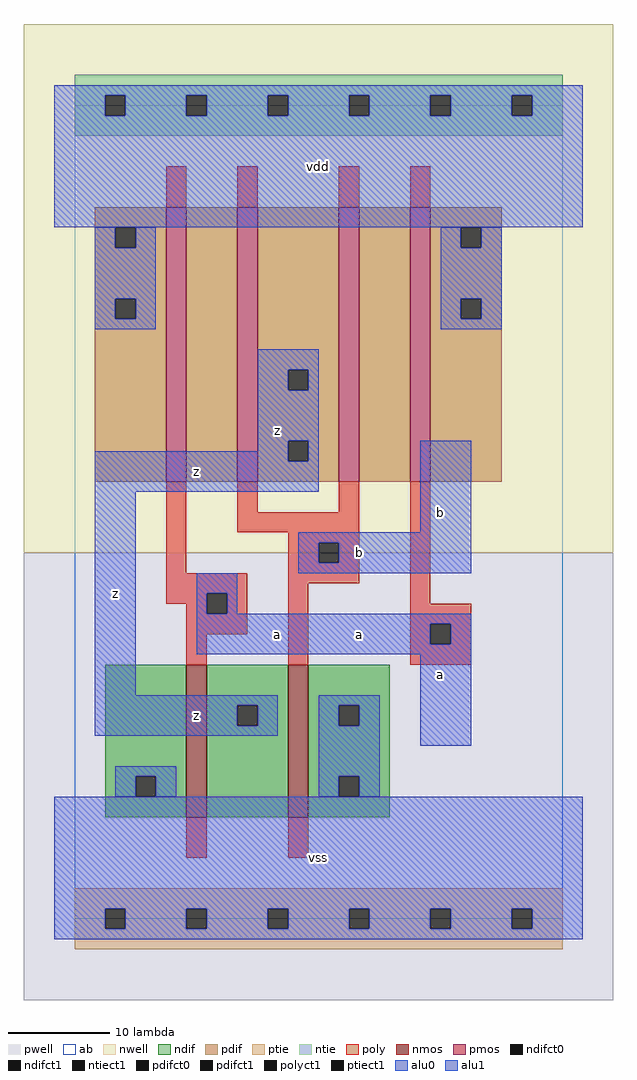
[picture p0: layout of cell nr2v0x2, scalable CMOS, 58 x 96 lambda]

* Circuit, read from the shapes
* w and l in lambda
.subckt nr2v0x2 a b vdd vss z
M1 z a vss vss nfet w=15 l=2
M2 vss b z vss nfet w=15 l=2
M3 n1 a vdd vdd pfet w=27 l=2
M4 z b n1 vdd pfet w=27 l=2
M5 n2 b z vdd pfet w=27 l=2
M6 vdd a n2 vdd pfet w=27 l=2
.ends

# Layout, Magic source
magic
tech scmos
<< ab >>
rect 0 0 48 80
<< nwell >>
rect -5 36 53 88
<< pwell >>
rect -5 -8 53 36
<< poly >>
rect 9 70 11 74
rect 16 70 18 74
rect 26 70 28 74
rect 33 70 35 74
rect 9 34 11 43
rect 16 40 18 43
rect 26 40 28 43
rect 16 38 28 40
rect 21 37 28 38
rect 21 35 24 37
rect 26 35 28 37
rect 9 32 17 34
rect 9 31 13 32
rect 11 30 13 31
rect 15 30 17 32
rect 11 28 17 30
rect 21 33 28 35
rect 11 25 13 28
rect 21 25 23 33
rect 33 31 35 43
rect 33 29 39 31
rect 33 27 35 29
rect 37 27 39 29
rect 33 25 39 27
rect 11 6 13 10
rect 21 6 23 10
<< ndif >>
rect 3 14 11 25
rect 3 12 6 14
rect 8 12 11 14
rect 3 10 11 12
rect 13 21 21 25
rect 13 19 16 21
rect 18 19 21 21
rect 13 10 21 19
rect 23 21 31 25
rect 23 19 26 21
rect 28 19 31 21
rect 23 14 31 19
rect 23 12 26 14
rect 28 12 31 14
rect 23 10 31 12
<< pdif >>
rect 2 68 9 70
rect 2 66 4 68
rect 6 66 9 68
rect 2 61 9 66
rect 2 59 4 61
rect 6 59 9 61
rect 2 43 9 59
rect 11 43 16 70
rect 18 54 26 70
rect 18 52 21 54
rect 23 52 26 54
rect 18 47 26 52
rect 18 45 21 47
rect 23 45 26 47
rect 18 43 26 45
rect 28 43 33 70
rect 35 68 42 70
rect 35 66 38 68
rect 40 66 42 68
rect 35 61 42 66
rect 35 59 38 61
rect 40 59 42 61
rect 35 43 42 59
<< alu1 >>
rect -2 81 50 82
rect -2 79 3 81
rect 5 79 11 81
rect 13 79 19 81
rect 21 79 27 81
rect 29 79 35 81
rect 37 79 43 81
rect 45 79 50 81
rect -2 68 50 79
rect 18 54 24 56
rect 18 52 21 54
rect 23 52 24 54
rect 18 47 24 52
rect 18 46 21 47
rect 2 45 21 46
rect 23 45 24 47
rect 2 42 24 45
rect 2 22 6 42
rect 34 38 39 47
rect 22 37 39 38
rect 22 35 24 37
rect 26 35 39 37
rect 22 34 39 35
rect 12 32 16 34
rect 12 30 13 32
rect 15 30 16 32
rect 12 29 39 30
rect 12 27 35 29
rect 37 27 39 29
rect 12 26 39 27
rect 2 21 20 22
rect 2 19 16 21
rect 18 19 20 21
rect 2 18 20 19
rect 34 17 39 26
rect -2 1 50 12
rect -2 -1 3 1
rect 5 -1 11 1
rect 13 -1 19 1
rect 21 -1 27 1
rect 29 -1 35 1
rect 37 -1 43 1
rect 45 -1 50 1
rect -2 -2 50 -1
<< ptie >>
rect 0 1 48 3
rect 0 -1 3 1
rect 5 -1 11 1
rect 13 -1 19 1
rect 21 -1 27 1
rect 29 -1 35 1
rect 37 -1 43 1
rect 45 -1 48 1
rect 0 -3 48 -1
<< ntie >>
rect 0 81 48 83
rect 0 79 3 81
rect 5 79 11 81
rect 13 79 19 81
rect 21 79 27 81
rect 29 79 35 81
rect 37 79 43 81
rect 45 79 48 81
rect 0 77 48 79
<< nmos >>
rect 11 10 13 25
rect 21 10 23 25
<< pmos >>
rect 9 43 11 70
rect 16 43 18 70
rect 26 43 28 70
rect 33 43 35 70
<< polyct1 >>
rect 24 35 26 37
rect 13 30 15 32
rect 35 27 37 29
<< ndifct0 >>
rect 6 12 8 14
rect 26 19 28 21
rect 26 12 28 14
<< ndifct1 >>
rect 16 19 18 21
<< ntiect1 >>
rect 3 79 5 81
rect 11 79 13 81
rect 19 79 21 81
rect 27 79 29 81
rect 35 79 37 81
rect 43 79 45 81
<< ptiect1 >>
rect 3 -1 5 1
rect 11 -1 13 1
rect 19 -1 21 1
rect 27 -1 29 1
rect 35 -1 37 1
rect 43 -1 45 1
<< pdifct0 >>
rect 4 66 6 68
rect 4 59 6 61
rect 38 66 40 68
rect 38 59 40 61
<< pdifct1 >>
rect 21 52 23 54
rect 21 45 23 47
<< alu0 >>
rect 2 66 4 68
rect 6 66 8 68
rect 2 61 8 66
rect 2 59 4 61
rect 6 59 8 61
rect 2 58 8 59
rect 36 66 38 68
rect 40 66 42 68
rect 36 61 42 66
rect 36 59 38 61
rect 40 59 42 61
rect 36 58 42 59
rect 24 21 30 22
rect 24 19 26 21
rect 28 19 30 21
rect 4 14 10 15
rect 4 12 6 14
rect 8 12 10 14
rect 24 14 30 19
rect 24 12 26 14
rect 28 12 30 14
<< labels >>
rlabel alu1 4 32 4 32 6 z
rlabel alu1 12 20 12 20 6 z
rlabel alu1 20 28 20 28 6 a
rlabel alu1 12 44 12 44 6 z
rlabel alu1 20 48 20 48 6 z
rlabel alu1 24 6 24 6 6 vss
rlabel alu1 28 28 28 28 6 a
rlabel alu1 28 36 28 36 6 b
rlabel alu1 24 74 24 74 6 vdd
rlabel alu1 36 24 36 24 6 a
rlabel alu1 36 40 36 40 6 b
<< end >>
